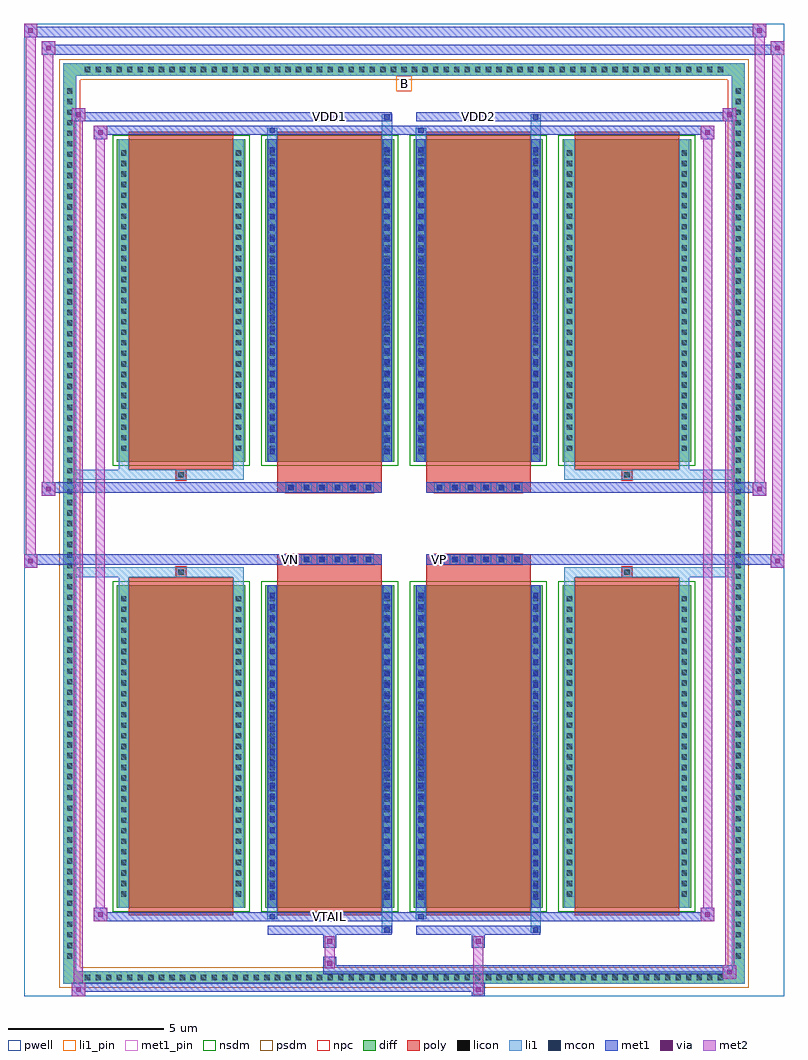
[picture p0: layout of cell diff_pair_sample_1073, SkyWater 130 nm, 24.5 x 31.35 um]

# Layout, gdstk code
import gdstk
lib = gdstk.Library(unit=1e-6, precision=5e-09)
def R(c, l, rs):  # rectangles x0, y0, x1, y1
    for r in rs: c.add(gdstk.rectangle(r[:2], r[2:], *l))
def A(c, l, x, y, w, h, nx, ny, dx, dy):  # array of equal rectangles
    R(c, l, [(x+i*dx, y+j*dy, x+i*dx+w, y+j*dy+h) for i in range(nx) for j in range(ny)])
def P(c, l, *ps):  # polygons
    for p in ps: c.add(gdstk.Polygon(p, *l))
pwell = (64, 44)
diff = (65, 20)
poly = (66, 20)
licon = (66, 44)
li1_pin = (67, 16)
li1 = (67, 20)
mcon = (67, 44)
met1_pin = (68, 16)
met1 = (68, 20)
via = (68, 44)
met2 = (69, 20)
nsdm = (93, 44)
psdm = (94, 20)
npc = (95, 20)

diff_pair_sample_1073 = lib.new_cell('diff_pair_sample_1073')
R(diff_pair_sample_1073, pwell, [(-12.25,-15.24,12.25,16.11), (-9.57,-13.43,-0.01,-0.795), (0.01,-13.43,9.57,-0.795), (-9.57,0.795,-0.01,13.43), (0.01,0.795,9.57,13.43)])
A(diff_pair_sample_1073, diff, -10.405, -14.84, 0.41, 0.41, 61, 2, 0.34, 29.27)
A(diff_pair_sample_1073, diff, -10.98, -14.145, 0.41, 0.41, 1, 83, 0, 0.34)
A(diff_pair_sample_1073, diff, 10.57, -14.145, 0.41, 0.41, 1, 83, 0, 0.34)
A(diff_pair_sample_1073, diff, -9.26, -12.385, 4.15, 10.4, 4, 2, 4.79, 14.37)
R(diff_pair_sample_1073, diff, [(-10.405,-14.84,10.405,-14.43), (-10.98,-14.145,-10.57,14.145), (10.57,-14.145,10.98,14.145), (-10.405,14.43,10.405,14.84)])
P(diff_pair_sample_1073, diff, [(10.98,14.84),(-10.98,14.84),(-10.98,-14.43),(-10.57,-14.43),(-10.57,14.43),(10.57,14.43),(10.57,-14.43),(-10.57,-14.43),(-10.98,-14.43),(-10.98,-14.84),(10.98,-14.84)])
A(diff_pair_sample_1073, poly, -8.87, -12.635, 3.37, 10.9, 4, 2, 4.79, 14.37)
A(diff_pair_sample_1073, poly, -3.81, -1.325, 0.33, 0.33, 6, 2, 0.5, 2.32)
A(diff_pair_sample_1073, poly, 0.98, -1.325, 0.33, 0.33, 6, 2, 0.5, 2.32)
R(diff_pair_sample_1073, poly, [(-7.35,-1.735,-7.02,-1.405), (-7.35,-1.735,-7.02,-1.405), (-4.08,-1.735,-0.71,-1.325), (0.71,-1.735,4.08,-1.325), (7.02,-1.735,7.35,-1.405), (7.02,-1.735,7.35,-1.405), (-4.08,-1.325,-0.71,-0.995), (0.71,-1.325,4.08,-0.995), (-4.08,0.995,-0.71,1.325), (0.71,0.995,4.08,1.325), (-4.08,1.325,-0.71,1.735), (0.71,1.325,4.08,1.735), (-7.35,1.405,-7.02,1.735), (-7.35,1.405,-7.02,1.735), (7.02,1.405,7.35,1.735), (7.02,1.405,7.35,1.735)])
A(diff_pair_sample_1073, licon, -10.285, -14.72, 0.17, 0.17, 61, 2, 0.34, 29.27)
A(diff_pair_sample_1073, licon, -10.86, -14.025, 0.17, 0.17, 1, 83, 0, 0.34)
A(diff_pair_sample_1073, licon, 10.69, -14.025, 0.17, 0.17, 1, 83, 0, 0.34)
A(diff_pair_sample_1073, licon, -9.12, -12.03, 0.17, 0.17, 1, 29, 0, 0.34)
A(diff_pair_sample_1073, licon, -5.42, -12.03, 0.17, 0.17, 1, 29, 0, 0.34)
A(diff_pair_sample_1073, licon, -4.33, -12.03, 0.17, 0.17, 1, 29, 0, 0.34)
A(diff_pair_sample_1073, licon, -0.63, -12.03, 0.17, 0.17, 1, 29, 0, 0.34)
A(diff_pair_sample_1073, licon, 0.46, -12.03, 0.17, 0.17, 1, 29, 0, 0.34)
A(diff_pair_sample_1073, licon, 4.16, -12.03, 0.17, 0.17, 1, 29, 0, 0.34)
A(diff_pair_sample_1073, licon, 5.25, -12.03, 0.17, 0.17, 1, 29, 0, 0.34)
A(diff_pair_sample_1073, licon, 8.95, -12.03, 0.17, 0.17, 1, 29, 0, 0.34)
A(diff_pair_sample_1073, licon, -3.73, -1.245, 0.17, 0.17, 6, 2, 0.5, 2.32)
A(diff_pair_sample_1073, licon, 1.06, -1.245, 0.17, 0.17, 6, 2, 0.5, 2.32)
A(diff_pair_sample_1073, licon, -9.12, 2.34, 0.17, 0.17, 1, 29, 0, 0.34)
A(diff_pair_sample_1073, licon, -5.42, 2.34, 0.17, 0.17, 1, 29, 0, 0.34)
A(diff_pair_sample_1073, licon, -4.33, 2.34, 0.17, 0.17, 1, 29, 0, 0.34)
A(diff_pair_sample_1073, licon, -0.63, 2.34, 0.17, 0.17, 1, 29, 0, 0.34)
A(diff_pair_sample_1073, licon, 0.46, 2.34, 0.17, 0.17, 1, 29, 0, 0.34)
A(diff_pair_sample_1073, licon, 4.16, 2.34, 0.17, 0.17, 1, 29, 0, 0.34)
A(diff_pair_sample_1073, licon, 5.25, 2.34, 0.17, 0.17, 1, 29, 0, 0.34)
A(diff_pair_sample_1073, licon, 8.95, 2.34, 0.17, 0.17, 1, 29, 0, 0.34)
R(diff_pair_sample_1073, licon, [(-7.27,-1.655,-7.1,-1.485), (7.1,-1.655,7.27,-1.485), (-7.27,1.485,-7.1,1.655), (7.1,1.485,7.27,1.655)])
R(diff_pair_sample_1073, li1_pin, [(-0.25,13.93,0.25,14.43)])
A(diff_pair_sample_1073, li1, -10.365, -14.8, 0.33, 0.33, 61, 2, 0.34, 29.27)
A(diff_pair_sample_1073, li1, -10.94, -14.105, 0.33, 0.33, 1, 83, 0, 0.34)
A(diff_pair_sample_1073, li1, 10.61, -14.105, 0.33, 0.33, 1, 83, 0, 0.34)
A(diff_pair_sample_1073, li1, -4.33, -12.13, 0.17, 0.17, 1, 28, 0, 0.36)
A(diff_pair_sample_1073, li1, -0.63, -12.13, 0.17, 0.17, 1, 28, 0, 0.36)
A(diff_pair_sample_1073, li1, 0.46, -12.13, 0.17, 0.17, 1, 28, 0, 0.36)
A(diff_pair_sample_1073, li1, 4.16, -12.13, 0.17, 0.17, 1, 28, 0, 0.36)
A(diff_pair_sample_1073, li1, -9.2, -12.11, 0.33, 0.33, 1, 29, 0, 0.34)
A(diff_pair_sample_1073, li1, -5.5, -12.11, 0.33, 0.33, 1, 29, 0, 0.34)
A(diff_pair_sample_1073, li1, -4.41, -12.11, 0.33, 0.33, 1, 29, 0, 0.34)
A(diff_pair_sample_1073, li1, -0.71, -12.11, 0.33, 0.33, 1, 29, 0, 0.34)
A(diff_pair_sample_1073, li1, 0.38, -12.11, 0.33, 0.33, 1, 29, 0, 0.34)
A(diff_pair_sample_1073, li1, 4.08, -12.11, 0.33, 0.33, 1, 29, 0, 0.34)
A(diff_pair_sample_1073, li1, 5.17, -12.11, 0.33, 0.33, 1, 29, 0, 0.34)
A(diff_pair_sample_1073, li1, 8.87, -12.11, 0.33, 0.33, 1, 29, 0, 0.34)
A(diff_pair_sample_1073, li1, -3.81, -1.325, 0.33, 0.33, 6, 2, 0.5, 2.32)
A(diff_pair_sample_1073, li1, 0.98, -1.325, 0.33, 0.33, 6, 2, 0.5, 2.32)
A(diff_pair_sample_1073, li1, -4.33, 2.24, 0.17, 0.17, 1, 28, 0, 0.36)
A(diff_pair_sample_1073, li1, -0.63, 2.24, 0.17, 0.17, 1, 28, 0, 0.36)
A(diff_pair_sample_1073, li1, 0.46, 2.24, 0.17, 0.17, 1, 28, 0, 0.36)
A(diff_pair_sample_1073, li1, 4.16, 2.24, 0.17, 0.17, 1, 28, 0, 0.36)
A(diff_pair_sample_1073, li1, -9.2, 2.26, 0.33, 0.33, 1, 29, 0, 0.34)
A(diff_pair_sample_1073, li1, -5.5, 2.26, 0.33, 0.33, 1, 29, 0, 0.34)
A(diff_pair_sample_1073, li1, -4.41, 2.26, 0.33, 0.33, 1, 29, 0, 0.34)
A(diff_pair_sample_1073, li1, -0.71, 2.26, 0.33, 0.33, 1, 29, 0, 0.34)
A(diff_pair_sample_1073, li1, 0.38, 2.26, 0.33, 0.33, 1, 29, 0, 0.34)
A(diff_pair_sample_1073, li1, 4.08, 2.26, 0.33, 0.33, 1, 29, 0, 0.34)
A(diff_pair_sample_1073, li1, 5.17, 2.26, 0.33, 0.33, 1, 29, 0, 0.34)
A(diff_pair_sample_1073, li1, 8.87, 2.26, 0.33, 0.33, 1, 29, 0, 0.34)
R(diff_pair_sample_1073, li1, [(-10.98,-14.84,-10.57,-14.43), (-10.98,-14.84,-10.57,-14.43), (-10.57,-14.84,10.57,-14.43), (10.57,-14.84,10.98,-14.43), (10.57,-14.84,10.98,-14.43), (-10.98,-14.43,-10.57,14.43), (10.57,-14.43,10.98,14.43), (-0.71,-13.19,-0.38,-12.385), (-0.63,-13.19,-0.46,-13.02), (4.08,-13.19,4.41,-12.385), (4.16,-13.19,4.33,-13.02), (-4.41,-12.76,-4.08,-12.385), (-4.33,-12.76,-4.16,-12.59), (0.38,-12.76,0.71,-12.385), (0.46,-12.76,0.63,-12.59), (-9.2,-12.385,-8.87,-1.985), (-5.5,-12.385,-5.17,-1.985), (-4.41,-12.385,-4.08,-1.985), (-0.71,-12.385,-0.38,-1.985), (0.38,-12.385,0.71,-1.985), (4.08,-12.385,4.41,-1.985), (5.17,-12.385,5.5,-1.985), (8.87,-12.385,9.2,-1.985), (-4.33,-12.13,-4.16,-2.24), (-0.63,-12.13,-0.46,-2.24), (0.46,-12.13,0.63,-2.24), (4.16,-12.13,4.33,-2.24), (-9.2,-1.985,-8.87,-1.405), (-5.5,-1.985,-5.17,-1.405), (5.17,-1.985,5.5,-1.405), (8.87,-1.985,9.2,-1.405), (-10.98,-1.735,-7.35,-1.405), (-9.2,-1.735,-7.35,-1.405), (-7.35,-1.735,-7.02,-1.405), (-7.02,-1.735,-5.17,-1.405), (5.17,-1.735,7.02,-1.405), (7.02,-1.735,7.35,-1.405), (7.02,-1.735,10.98,-1.405), (7.35,-1.735,9.2,-1.405), (-10.98,1.405,-7.35,1.735), (-9.2,1.405,-7.35,1.735), (-9.2,1.405,-8.87,1.985), (-7.35,1.405,-7.02,1.735), (-7.02,1.405,-5.17,1.735), (-5.5,1.405,-5.17,1.985), (5.17,1.405,7.02,1.735), (5.17,1.405,5.5,1.985), (7.02,1.405,7.35,1.735), (7.02,1.405,10.98,1.735), (7.35,1.405,9.2,1.735), (8.87,1.405,9.2,1.985), (-9.2,1.985,-8.87,12.385), (-5.5,1.985,-5.17,12.385), (-4.41,1.985,-4.08,12.385), (-0.71,1.985,-0.38,12.385), (0.38,1.985,0.71,12.385), (4.08,1.985,4.41,12.385), (5.17,1.985,5.5,12.385), (8.87,1.985,9.2,12.385), (-4.33,2.24,-4.16,12.13), (-0.63,2.24,-0.46,12.13), (0.46,2.24,0.63,12.13), (4.16,2.24,4.33,12.13), (-4.41,12.385,-4.08,12.76), (-0.71,12.385,-0.38,13.19), (0.38,12.385,0.71,12.76), (4.08,12.385,4.41,13.19), (-4.33,12.59,-4.16,12.76), (0.46,12.59,0.63,12.76), (-0.63,13.02,-0.46,13.19), (4.16,13.02,4.33,13.19), (-10.98,14.43,-10.57,14.84), (-10.98,14.43,-10.57,14.84), (-10.57,14.43,10.57,14.84), (10.57,14.43,10.98,14.84), (10.57,14.43,10.98,14.84)])
A(diff_pair_sample_1073, mcon, -4.33, -12.13, 0.17, 0.17, 1, 28, 0, 0.36)
A(diff_pair_sample_1073, mcon, -0.63, -12.13, 0.17, 0.17, 1, 28, 0, 0.36)
A(diff_pair_sample_1073, mcon, 0.46, -12.13, 0.17, 0.17, 1, 28, 0, 0.36)
A(diff_pair_sample_1073, mcon, 4.16, -12.13, 0.17, 0.17, 1, 28, 0, 0.36)
A(diff_pair_sample_1073, mcon, -3.73, -1.245, 0.17, 0.17, 6, 2, 0.5, 2.32)
A(diff_pair_sample_1073, mcon, 1.06, -1.245, 0.17, 0.17, 6, 2, 0.5, 2.32)
A(diff_pair_sample_1073, mcon, -4.33, 2.24, 0.17, 0.17, 1, 28, 0, 0.36)
A(diff_pair_sample_1073, mcon, -0.63, 2.24, 0.17, 0.17, 1, 28, 0, 0.36)
A(diff_pair_sample_1073, mcon, 0.46, 2.24, 0.17, 0.17, 1, 28, 0, 0.36)
A(diff_pair_sample_1073, mcon, 4.16, 2.24, 0.17, 0.17, 1, 28, 0, 0.36)
R(diff_pair_sample_1073, mcon, [(-0.63,-13.19,-0.46,-13.02), (4.16,-13.19,4.33,-13.02), (-4.33,-12.76,-4.16,-12.59), (0.46,-12.76,0.63,-12.59), (-4.33,12.59,-4.16,12.76), (0.46,12.59,0.63,12.76), (-0.63,13.02,-0.46,13.19), (4.16,13.02,4.33,13.19)])
R(diff_pair_sample_1073, met1_pin, [(-2.53,-12.8,-2.26,-12.53), (-3.78,-1.285,-3.51,-1.015), (1.01,-1.285,1.28,-1.015), (-2.53,12.98,-2.26,13.25), (2.26,12.98,2.53,13.25)])
A(diff_pair_sample_1073, met1, -4.39, -12.19, 0.29, 0.29, 1, 28, 0, 0.36)
A(diff_pair_sample_1073, met1, -0.69, -12.19, 0.29, 0.29, 1, 28, 0, 0.36)
A(diff_pair_sample_1073, met1, 0.4, -12.19, 0.29, 0.29, 1, 28, 0, 0.36)
A(diff_pair_sample_1073, met1, 4.1, -12.19, 0.29, 0.29, 1, 28, 0, 0.36)
A(diff_pair_sample_1073, met1, -3.79, -1.305, 0.29, 0.29, 6, 2, 0.5, 2.32)
A(diff_pair_sample_1073, met1, 1, -1.305, 0.29, 0.29, 6, 2, 0.5, 2.32)
A(diff_pair_sample_1073, met1, -4.39, 2.18, 0.29, 0.29, 1, 28, 0, 0.36)
A(diff_pair_sample_1073, met1, -0.69, 2.18, 0.29, 0.29, 1, 28, 0, 0.36)
A(diff_pair_sample_1073, met1, 0.4, 2.18, 0.29, 0.29, 1, 28, 0, 0.36)
A(diff_pair_sample_1073, met1, 4.1, 2.18, 0.29, 0.29, 1, 28, 0, 0.36)
R(diff_pair_sample_1073, met1, [(-10.71,-15.24,-10.28,-14.81), (2.18,-15.24,2.61,-14.81), (-10.71,-15.1,2.61,-14.81), (10.28,-14.67,10.71,-14.24), (-2.61,-14.53,10.71,-14.24), (-2.61,-14.39,-2.18,-13.96), (-2.61,-13.68,-2.18,-13.25), (2.18,-13.68,2.61,-13.25), (-4.39,-13.25,-0.4,-12.96), (-0.69,-13.25,-0.4,-12.96), (0.4,-13.25,4.39,-12.96), (4.1,-13.25,4.39,-12.96), (-10,-12.82,-9.57,-12.39), (-10,-12.82,-4.39,-12.53), (-4.39,-12.82,-4.1,-12.53), (-4.39,-12.82,-0.4,-12.53), (-0.4,-12.82,0.4,-12.53), (0.4,-12.82,0.69,-12.53), (0.4,-12.82,4.39,-12.53), (4.39,-12.82,10,-12.53), (9.57,-12.82,10,-12.39), (-4.39,-12.385,-4.1,-1.985), (-0.69,-12.385,-0.4,-1.985), (0.4,-12.385,0.69,-1.985), (4.1,-12.385,4.39,-1.985), (-12.25,-1.425,-11.82,-0.995), (11.82,-1.425,12.25,-0.995), (-12.25,-1.325,-0.71,-0.995), (-4.08,-1.325,-0.71,-0.995), (0.71,-1.325,4.08,-0.995), (0.71,-1.325,12.25,-0.995), (-11.68,0.895,-11.25,1.325), (11.25,0.895,11.68,1.325), (-11.68,0.995,-4.08,1.325), (-4.08,0.995,-0.71,1.325), (0.71,0.995,4.08,1.325), (4.08,0.995,11.68,1.325), (-4.39,1.985,-4.1,12.385), (-0.69,1.985,-0.4,12.385), (0.4,1.985,0.69,12.385), (4.1,1.985,4.39,12.385), (-10,12.39,-9.57,12.82), (9.57,12.39,10,12.82), (-10,12.53,-4.39,12.82), (-4.39,12.53,-4.1,12.82), (-4.39,12.53,-0.4,12.82), (-0.4,12.53,0.4,12.82), (0.4,12.53,0.69,12.82), (0.4,12.53,4.39,12.82), (4.39,12.53,10,12.82), (-10.71,12.96,-10.28,13.39), (-10.71,12.96,-4.39,13.25), (-4.39,12.96,-0.4,13.25), (-0.69,12.96,-0.4,13.25), (0.4,12.96,4.39,13.25), (4.1,12.96,4.39,13.25), (4.39,12.96,10.71,13.25), (10.28,12.96,10.71,13.39), (-11.68,15.11,-11.25,15.54), (-11.68,15.11,-9.57,15.44), (-9.57,15.11,9.57,15.44), (9.57,15.11,12.25,15.44), (11.82,15.11,12.25,15.54), (-12.25,15.68,-11.82,16.11), (-12.25,15.68,-9.57,16.01), (-9.57,15.68,9.57,16.01), (9.57,15.68,11.68,16.01), (11.25,15.68,11.68,16.11)])
R(diff_pair_sample_1073, via, [(-10.57,-15.1,-10.42,-14.95), (2.32,-15.1,2.47,-14.95), (10.42,-14.53,10.57,-14.38), (-2.47,-14.25,-2.32,-14.1), (-2.47,-13.54,-2.32,-13.39), (2.32,-13.54,2.47,-13.39), (-9.86,-12.68,-9.71,-12.53), (9.71,-12.68,9.86,-12.53), (-12.11,-1.285,-11.96,-1.135), (11.96,-1.285,12.11,-1.135), (-11.54,1.035,-11.39,1.185), (11.39,1.035,11.54,1.185), (-9.86,12.53,-9.71,12.68), (9.71,12.53,9.86,12.68), (-10.57,13.1,-10.42,13.25), (10.42,13.1,10.57,13.25), (-11.54,15.25,-11.39,15.4), (11.96,15.25,12.11,15.4), (-12.11,15.82,-11.96,15.97), (11.39,15.82,11.54,15.97)])
R(diff_pair_sample_1073, met2, [(-10.71,-15.24,-10.28,-14.81), (-10.64,-15.24,-10.35,13.39), (-10.35,-15.24,-10.28,-14.81), (-10.66,-15.19,-10.33,-14.86), (2.23,-15.19,2.56,-14.86), (2.23,-14.86,2.56,-13.63), (10.28,-14.67,10.71,-14.24), (10.35,-14.67,10.64,13.39), (10.64,-14.67,10.71,-14.24), (10.33,-14.62,10.66,-14.29), (-2.56,-14.34,-2.23,-14.01), (-2.56,-14.01,-2.23,-13.63), (-2.56,-13.63,-2.23,-13.3), (2.23,-13.63,2.56,-13.3), (-10,-12.82,-9.57,-12.39), (-9.93,-12.82,-9.64,12.82), (-9.64,-12.82,-9.57,-12.39), (9.57,-12.82,10,-12.39), (9.64,-12.82,9.93,12.82), (9.93,-12.82,10,-12.39), (-9.95,-12.77,-9.62,-12.44), (9.62,-12.77,9.95,-12.44), (-12.25,-1.425,-11.82,-0.995), (-12.2,-1.425,-11.87,16.11), (-11.87,-1.425,-11.82,-0.995), (11.82,-1.425,12.25,-0.995), (11.87,-1.425,12.2,15.54), (12.2,-1.425,12.25,-0.995), (-12.2,-1.375,-11.87,-1.045), (11.87,-1.375,12.2,-1.045), (-11.68,0.895,-11.25,1.325), (-11.63,0.895,-11.3,15.54), (-11.3,0.895,-11.25,1.325), (11.25,0.895,11.68,1.325), (11.3,0.895,11.63,16.11), (11.63,0.895,11.68,1.325), (-11.63,0.945,-11.3,1.275), (11.3,0.945,11.63,1.275), (-10,12.39,-9.57,12.82), (-9.64,12.39,-9.57,12.82), (9.57,12.39,10,12.82), (9.93,12.39,10,12.82), (-9.95,12.44,-9.62,12.77), (9.62,12.44,9.95,12.77), (-10.71,12.96,-10.28,13.39), (-10.35,12.96,-10.28,13.39), (10.28,12.96,10.71,13.39), (10.64,12.96,10.71,13.39), (-10.66,13.01,-10.33,13.34), (10.33,13.01,10.66,13.34), (-11.68,15.11,-11.25,15.54), (-11.3,15.11,-11.25,15.54), (11.82,15.11,12.25,15.54), (12.2,15.11,12.25,15.54), (-11.63,15.16,-11.3,15.49), (11.87,15.16,12.2,15.49), (-12.25,15.68,-11.82,16.11), (-11.87,15.68,-11.82,16.11), (11.25,15.68,11.68,16.11), (11.63,15.68,11.68,16.11), (-12.2,15.73,-11.87,16.06), (11.3,15.73,11.63,16.06)])
A(diff_pair_sample_1073, nsdm, -9.39, -12.515, 4.41, 10.66, 4, 2, 4.79, 14.37)
P(diff_pair_sample_1073, psdm, [(11.11,14.97),(-11.11,14.97),(-11.11,-14.3),(-10.44,-14.3),(-10.44,14.3),(10.44,14.3),(10.44,-14.3),(-10.44,-14.3),(-11.11,-14.3),(-11.11,-14.97),(11.11,-14.97)])
A(diff_pair_sample_1073, npc, -3.83, -1.345, 0.37, 0.37, 6, 2, 0.5, 2.32)
A(diff_pair_sample_1073, npc, 0.96, -1.345, 0.37, 0.37, 6, 2, 0.5, 2.32)
R(diff_pair_sample_1073, npc, [(-7.37,-1.755,-7,-1.385), (7,-1.755,7.37,-1.385), (-3.83,-1.345,-2.96,-0.975), (-3.83,-1.345,-2.96,-0.975), (-3.33,-1.345,-2.46,-0.975), (-3.33,-1.345,-2.46,-0.975), (-2.83,-1.345,-1.96,-0.975), (-2.83,-1.345,-1.96,-0.975), (-2.33,-1.345,-1.46,-0.975), (-2.33,-1.345,-1.46,-0.975), (-1.83,-1.345,-0.96,-0.975), (-1.83,-1.345,-0.96,-0.975), (0.96,-1.345,1.83,-0.975), (0.96,-1.345,1.83,-0.975), (1.46,-1.345,2.33,-0.975), (1.46,-1.345,2.33,-0.975), (1.96,-1.345,2.83,-0.975), (1.96,-1.345,2.83,-0.975), (2.46,-1.345,3.33,-0.975), (2.46,-1.345,3.33,-0.975), (2.96,-1.345,3.83,-0.975), (2.96,-1.345,3.83,-0.975), (-3.83,0.975,-2.96,1.345), (-3.83,0.975,-2.96,1.345), (-3.33,0.975,-2.46,1.345), (-3.33,0.975,-2.46,1.345), (-2.83,0.975,-1.96,1.345), (-2.83,0.975,-1.96,1.345), (-2.33,0.975,-1.46,1.345), (-2.33,0.975,-1.46,1.345), (-1.83,0.975,-0.96,1.345), (-1.83,0.975,-0.96,1.345), (0.96,0.975,1.83,1.345), (0.96,0.975,1.83,1.345), (1.46,0.975,2.33,1.345), (1.46,0.975,2.33,1.345), (1.96,0.975,2.83,1.345), (1.96,0.975,2.83,1.345), (2.46,0.975,3.33,1.345), (2.46,0.975,3.33,1.345), (2.96,0.975,3.83,1.345), (2.96,0.975,3.83,1.345), (-7.37,1.385,-7,1.755), (7,1.385,7.37,1.755)])
diff_pair_sample_1073.add(gdstk.Label('VTAIL', (-2.395,-12.665), layer=68, texttype=5))
diff_pair_sample_1073.add(gdstk.Label('VN', (-3.645,-1.15), layer=68, texttype=5))
diff_pair_sample_1073.add(gdstk.Label('VP', (1.145,-1.15), layer=68, texttype=5))
diff_pair_sample_1073.add(gdstk.Label('B', (0,14.18), layer=67, texttype=5))
diff_pair_sample_1073.add(gdstk.Label('VDD2', (2.395,13.115), layer=68, texttype=5))
diff_pair_sample_1073.add(gdstk.Label('VDD1', (-2.395,13.115), layer=68, texttype=5))

lib.write_gds('diff_pair_sample_1073.gds')
